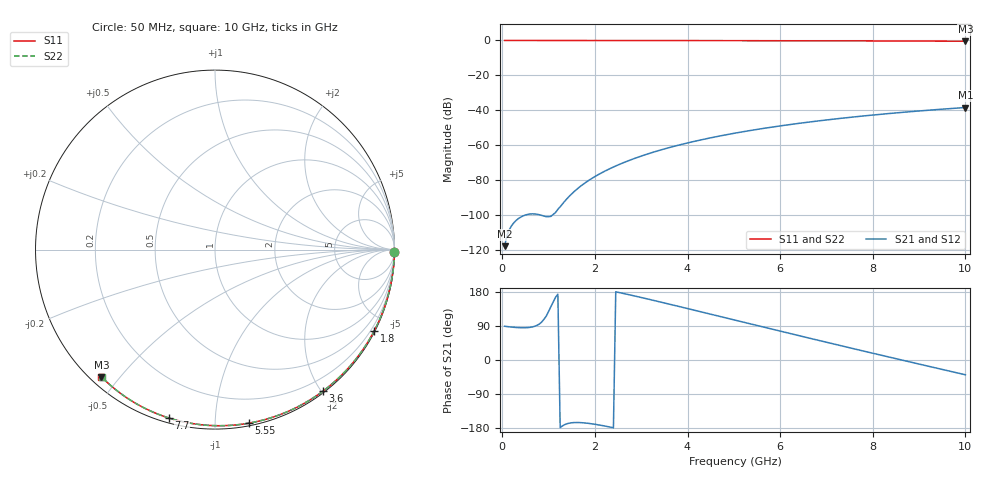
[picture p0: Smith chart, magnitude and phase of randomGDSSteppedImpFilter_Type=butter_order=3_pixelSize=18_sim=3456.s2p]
! freq	dB(S11)	phase(S11)	dB(S12)	phase(S12)
!  dB(S21)	phase(S21)	dB(S22)	phase(S22)
!S-par simulation data
#  GHz  S  DB  R 50
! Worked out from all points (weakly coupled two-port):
!   200 points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, 50 MHz to 10 GHz, reference 50 ohm
!   highest |S21| = -38.46 dB at 10 GHz (marker M1); lowest = -118.0 dB at 50 MHz (marker M2)
!   lowest |S11| = -0.4 dB at 10 GHz (marker M3), VSWR 39.17, Z = 1.53 - j22.4 ohm
!   |S11| at or under -10 dB: nowhere
!   |S22| runs from -0.4 to 0.0 dB; largest |S21 - S12| = 0
!   S11 on the Smith chart (normalised r, x): 50 MHz: open; 1.8 GHz: 0.04, -4.17; 3.6 GHz: 0.02, -2.01; 5.55 GHz: 0.02, -1.22; 7.7 GHz: 0.02, -0.76; 10 GHz: 0.03, -0.45
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0.05  -0.00 -0.8  -117.99 89.1  -117.99 89.1  -0.00 -0.8
0.9  -0.02 -13.6  -100.76 107.4  -100.76 107.4  -0.02 -13.6
1.75  -0.03 -26.3  -82.41 -165.7  -82.41 -165.7  -0.03 -26.2
1.8  -0.03 -27.0  -81.46 -166.3  -81.46 -166.3  -0.03 -27.0
1.85  -0.04 -27.7  -80.56 -167.0  -80.56 -167.0  -0.04 -27.7
1.9  -0.04 -28.5  -79.69 -167.8  -79.69 -167.8  -0.04 -28.4
2.05  -0.04 -30.7  -77.29 -170.6  -77.29 -170.6  -0.04 -30.6
2.25  -0.04 -33.6  -74.47 -175.1  -74.47 -175.1  -0.04 -33.5
2.45  -0.05 -36.5  -71.97 179.9  -71.97 179.9  -0.05 -36.4
2.65  -0.05 -39.4  -69.74 174.7  -69.74 174.7  -0.05 -39.3
3  -0.06 -44.4  -66.32 165.0  -66.32 165.0  -0.06 -44.3
3.4  -0.07 -50.0  -62.97 153.5  -62.97 153.5  -0.07 -50.0
3.6  -0.07 -52.8  -61.48 147.6  -61.48 147.6  -0.07 -52.7
4.3  -0.09 -62.4  -56.97 126.9  -56.97 126.9  -0.09 -62.3
5.05  -0.11 -72.4  -53.04 104.5  -53.04 104.5  -0.11 -72.3
5.55  -0.13 -78.8  -50.81 89.6  -50.81 89.6  -0.13 -78.8
6.1  -0.15 -85.8  -48.64 73.3  -48.64 73.3  -0.15 -85.7
6.7  -0.18 -93.3  -46.55 55.6  -46.55 55.6  -0.18 -93.2
7.7  -0.24 -105.3  -43.57 26.5  -43.57 26.5  -0.24 -105.2
8.35  -0.29 -112.9  -41.91 7.8  -41.91 7.8  -0.29 -112.8
9.15  -0.36 -122.1  -40.12 -15.0  -40.12 -15.0  -0.36 -122.0
10  -0.44 -131.8  -38.46 -39.0  -38.46 -39.0  -0.45 -131.6
